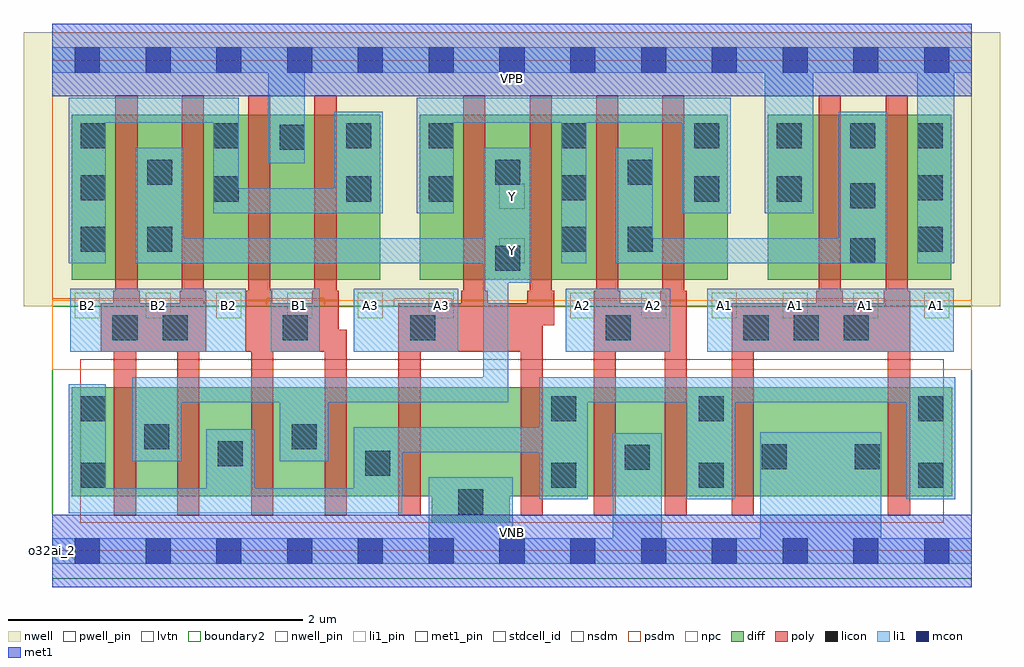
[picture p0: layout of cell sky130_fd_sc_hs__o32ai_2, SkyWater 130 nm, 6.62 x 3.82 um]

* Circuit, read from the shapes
.subckt sky130_fd_sc_hs__o32ai_2 A1 A2 A3 B1 B2 VGND VNB VPB VPWR Y
XM1 Y B2 n1 VNB sky130_fd_pr__nfet_01v8_lvt w=0.74 l=0.15 m=2
XM2 Y B1 n1 VNB sky130_fd_pr__nfet_01v8_lvt w=0.74 l=0.15 m=2
XM3 VGND A3 n1 VNB sky130_fd_pr__nfet_01v8_lvt w=0.74 l=0.15 m=2
XM4 VGND A2 n1 VNB sky130_fd_pr__nfet_01v8_lvt w=0.74 l=0.15 m=2
XM5 VGND A1 n1 VNB sky130_fd_pr__nfet_01v8_lvt w=0.74 l=0.15 m=2
XM6 Y B2 n2 VPB sky130_fd_pr__pfet_01v8 w=1.12 l=0.15 m=2
XM7 VPWR B1 n2 VPB sky130_fd_pr__pfet_01v8 w=1.12 l=0.15 m=2
XM8 Y A3 n3 VPB sky130_fd_pr__pfet_01v8 w=1.12 l=0.15 m=2
XM9 n4 A2 n3 VPB sky130_fd_pr__pfet_01v8 w=1.12 l=0.15 m=2
XM10 n4 A1 VPWR VPB sky130_fd_pr__pfet_01v8 w=1.12 l=0.15 m=2
.ends

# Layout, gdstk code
import gdstk
lib = gdstk.Library(unit=1e-6, precision=1e-09)
def R(c, l, rs):  # rectangles x0, y0, x1, y1
    for r in rs: c.add(gdstk.rectangle(r[:2], r[2:], *l))
def A(c, l, x, y, w, h, nx, ny, dx, dy):  # array of equal rectangles
    R(c, l, [(x+i*dx, y+j*dy, x+i*dx+w, y+j*dy+h) for i in range(nx) for j in range(ny)])
def P(c, l, *ps):  # polygons
    for p in ps: c.add(gdstk.Polygon(p, *l))
nwell_pin = (64, 16)
nwell = (64, 20)
diff = (65, 20)
poly = (66, 20)
licon = (66, 44)
li1_pin = (67, 16)
li1 = (67, 20)
mcon = (67, 44)
met1_pin = (68, 16)
met1 = (68, 20)
stdcell_id = (81, 4)
nsdm = (93, 44)
psdm = (94, 20)
npc = (95, 20)
pwell_pin = (122, 16)
lvtn = (125, 44)
boundary2 = (236, 0)

sky130_fd_sc_hs__o32ai_2 = lib.new_cell('sky130_fd_sc_hs__o32ai_2')
R(sky130_fd_sc_hs__o32ai_2, nwell_pin, [(0,3.085,6.24,3.33)])
R(sky130_fd_sc_hs__o32ai_2, nwell, [(-0.19,1.66,6.43,3.52)])
R(sky130_fd_sc_hs__o32ai_2, diff, [(0.135,1.84,2.225,2.96), (2.495,1.84,4.585,2.96), (4.855,1.84,6.1,2.96)])
P(sky130_fd_sc_hs__o32ai_2, diff, [(6.105,1.11),(0.135,1.11),(0.135,0.37),(2.575,0.37),(2.575,0.19),(3.105,0.19),(3.105,0.37),(6.105,0.37)])
P(sky130_fd_sc_hs__o32ai_2, poly, [(5.82,1.765),(5.805,1.765),(5.805,3.09),(5.655,3.09),(5.655,1.765),(5.64,1.765),(5.64,1.68),(5.365,1.68),(5.365,1.765),(5.35,1.765),(5.35,3.09),(5.2,3.09),(5.2,1.765),(5.185,1.765),(5.185,1.68),(4.61,1.68),(4.61,0.24),(4.76,0.24),(4.76,1.35),(5.67,1.35),(5.67,0.24),(5.82,0.24)],
  [(4.305,1.765),(4.29,1.765),(4.29,3.09),(4.14,3.09),(4.14,1.765),(4.125,1.765),(4.125,1.68),(3.855,1.68),(3.855,1.765),(3.84,1.765),(3.84,3.09),(3.69,3.09),(3.69,1.765),(3.675,1.765),(3.675,0.24),(3.825,0.24),(3.825,1.35),(4.155,1.35),(4.155,0.24),(4.305,0.24)],
  [(3.405,1.765),(3.39,1.765),(3.39,3.09),(3.24,3.09),(3.24,1.765),(3.225,1.765),(3.225,1.68),(2.955,1.68),(2.955,1.765),(2.94,1.765),(2.94,3.09),(2.79,3.09),(2.79,1.765),(2.775,1.765),(2.775,1.68),(2.35,1.68),(2.35,0.24),(2.5,0.24),(2.5,1.35),(3.18,1.35),(3.18,0.24),(3.33,0.24),(3.33,1.53),(3.405,1.53)],
  [(2,1.5),(1.945,1.5),(1.945,1.765),(1.93,1.765),(1.93,3.09),(1.78,3.09),(1.78,1.765),(1.765,1.765),(1.765,1.68),(1.495,1.68),(1.495,1.765),(1.48,1.765),(1.48,3.09),(1.33,3.09),(1.33,1.765),(1.315,1.765),(1.315,1.35),(1.35,1.35),(1.35,0.24),(1.5,0.24),(1.5,1.35),(1.85,1.35),(1.85,0.24),(2,0.24)],
  [(1.045,1.765),(1.03,1.765),(1.03,3.09),(0.88,3.09),(0.88,1.765),(0.865,1.765),(0.865,1.68),(0.595,1.68),(0.595,1.765),(0.58,1.765),(0.58,3.09),(0.43,3.09),(0.43,1.765),(0.415,1.765),(0.415,1.68),(0.33,1.68),(0.33,1.35),(0.42,1.35),(0.42,0.24),(0.57,0.24),(0.57,1.35),(0.85,1.35),(0.85,0.24),(1,0.24),(1,1.35),(1.045,1.35)])
A(sky130_fd_sc_hs__o32ai_2, licon, 4.69, 1.43, 0.17, 0.17, 3, 1, 0.34, 0)
A(sky130_fd_sc_hs__o32ai_2, licon, 5.87, 2.03, 0.17, 0.17, 1, 3, 0, 0.35)
A(sky130_fd_sc_hs__o32ai_2, licon, 0.195, 2.73, 0.17, 0.17, 3, 1, 0.9, 0)
A(sky130_fd_sc_hs__o32ai_2, licon, 2.555, 2.73, 0.17, 0.17, 3, 1, 0.9, 0)
R(sky130_fd_sc_hs__o32ai_2, licon, [(2.755,0.25,2.925,0.42), (0.195,0.43,0.365,0.6), (3.385,0.43,3.555,0.6), (4.385,0.43,4.555,0.6), (5.875,0.43,6.045,0.6), (2.125,0.51,2.295,0.68), (3.885,0.55,4.055,0.72), (4.815,0.555,4.985,0.725), (5.445,0.555,5.615,0.725), (1.125,0.575,1.295,0.745), (0.625,0.69,0.795,0.86), (1.625,0.69,1.795,0.86), (0.195,0.88,0.365,1.05), (3.385,0.88,3.555,1.05), (4.385,0.88,4.555,1.05), (5.875,0.88,6.045,1.05), (0.41,1.43,0.58,1.6), (0.75,1.43,0.92,1.6), (1.565,1.43,1.735,1.6), (2.43,1.43,2.6,1.6), (3.755,1.43,3.925,1.6), (3.005,1.9,3.175,2.07), (5.415,1.95,5.585,2.12), (0.195,2.03,0.365,2.2), (0.645,2.03,0.815,2.2), (3.455,2.03,3.625,2.2), (3.905,2.03,4.075,2.2), (5.415,2.325,5.585,2.495), (1.095,2.37,1.265,2.54), (1.995,2.37,2.165,2.54), (2.555,2.37,2.725,2.54), (4.355,2.37,4.525,2.54), (4.915,2.37,5.085,2.54), (0.195,2.38,0.365,2.55), (3.455,2.38,3.625,2.55), (0.645,2.485,0.815,2.655), (3.005,2.485,3.175,2.655), (3.905,2.485,4.075,2.655), (1.545,2.72,1.715,2.89), (4.915,2.73,5.085,2.9), (5.415,2.73,5.585,2.9)])
A(sky130_fd_sc_hs__o32ai_2, li1_pin, 0.155, 1.58, 0.17, 0.17, 6, 1, 0.48, 0)
A(sky130_fd_sc_hs__o32ai_2, li1_pin, 3.515, 1.58, 0.17, 0.17, 6, 1, 0.48, 0)
R(sky130_fd_sc_hs__o32ai_2, li1_pin, [(3.035,1.95,3.205,2.12), (3.035,2.32,3.205,2.49)])
R(sky130_fd_sc_hs__o32ai_2, li1, [(0.125,1.35,1.315,1.78), (1.485,1.35,1.815,1.78), (2.045,1.35,2.755,1.78), (3.485,1.35,4.195,1.78), (4.445,1.35,6.115,1.78)])
P(sky130_fd_sc_hs__o32ai_2, li1, [(0,-0.085),(0,0.085),(2.555,0.085),(2.555,0.5),(3.125,0.5),(3.125,0.085),(3.805,0.085),(3.805,0.8),(4.135,0.8),(4.135,0.085),(4.805,0.085),(4.805,0.805),(5.625,0.805),(5.625,0.085),(6.24,0.085),(6.24,-0.085)],
  [(0,3.245),(0,3.415),(6.24,3.415),(6.24,3.245),(6.12,3.245),(6.12,1.95),(5.87,1.95),(5.87,3.245),(5.165,3.245),(5.165,2.29),(4.835,2.29),(4.835,3.245),(1.715,3.245),(1.715,2.63),(1.465,2.63),(1.465,3.245)],
  [(2.925,2.735),(3.255,2.735),(3.255,1.82),(3.095,1.82),(3.095,1.01),(1.875,1.01),(1.875,0.61),(1.545,0.61),(1.545,1.01),(0.875,1.01),(0.875,0.61),(0.545,0.61),(0.545,1.18),(2.925,1.18),(2.925,1.95),(0.565,1.95),(0.565,2.735),(0.895,2.735),(0.895,2.12),(2.925,2.12)],
  [(5.795,0.35),(5.795,1.01),(4.635,1.01),(4.635,0.35),(4.305,0.35),(4.305,1.01),(3.635,1.01),(3.635,0.35),(3.305,0.35),(3.305,0.67),(2.375,0.67),(2.375,0.255),(0.115,0.255),(0.115,1.13),(0.365,1.13),(0.365,0.425),(1.045,0.425),(1.045,0.825),(1.375,0.825),(1.375,0.425),(2.045,0.425),(2.045,0.84),(3.305,0.84),(3.305,1.18),(6.125,1.18),(6.125,0.35)],
  [(3.455,1.95),(3.455,2.905),(2.725,2.905),(2.725,2.29),(2.475,2.29),(2.475,3.075),(4.605,3.075),(4.605,2.29),(4.275,2.29),(4.275,2.905),(3.625,2.905),(3.625,1.95)],
  [(5.335,2.12),(5.335,2.98),(5.67,2.98),(5.67,1.95),(3.825,1.95),(3.825,2.735),(4.075,2.735),(4.075,2.12)],
  [(0.115,1.95),(0.115,3.075),(1.265,3.075),(1.265,2.46),(1.915,2.46),(1.915,2.98),(2.245,2.98),(2.245,2.29),(1.095,2.29),(1.095,2.905),(0.365,2.905),(0.365,1.95)])
A(sky130_fd_sc_hs__o32ai_2, mcon, 0.155, -0.085, 0.17, 0.17, 13, 2, 0.48, 3.33)
R(sky130_fd_sc_hs__o32ai_2, met1_pin, [(0,0,6.24,0.245), (0,3.085,6.24,3.33)])
R(sky130_fd_sc_hs__o32ai_2, met1, [(0,-0.245,6.24,0.245), (0,3.085,6.24,3.575)])
R(sky130_fd_sc_hs__o32ai_2, stdcell_id, [(0,0,6.24,3.33)])
R(sky130_fd_sc_hs__o32ai_2, nsdm, [(0,-0.19,6.24,1.66)])
P(sky130_fd_sc_hs__o32ai_2, psdm, [(6.24,3.52),(0,3.52),(0,1.71),(1.03,1.71),(1.03,1.66),(1.455,1.66),(1.455,1.71),(1.845,1.71),(1.845,1.66),(2.32,1.66),(2.32,1.71),(2.71,1.71),(2.71,1.66),(3.645,1.66),(3.645,1.71),(4.035,1.71),(4.035,1.66),(4.58,1.66),(4.58,1.71),(5.65,1.71),(5.65,1.66),(6.24,1.66)])
R(sky130_fd_sc_hs__o32ai_2, npc, [(0,1.23,6.24,1.7)])
R(sky130_fd_sc_hs__o32ai_2, pwell_pin, [(0,0,6.24,0.245)])
R(sky130_fd_sc_hs__o32ai_2, lvtn, [(0.19,0.19,6.05,1.3)])
R(sky130_fd_sc_hs__o32ai_2, boundary2, [(0,0,6.24,3.33)])
sky130_fd_sc_hs__o32ai_2.add(gdstk.Label('o32ai_2', (0,0), layer=83, texttype=44))
sky130_fd_sc_hs__o32ai_2.add(gdstk.Label('VNB', (3.12,0.123), layer=64, texttype=59))
sky130_fd_sc_hs__o32ai_2.add(gdstk.Label('VPB', (3.12,3.208), layer=64, texttype=5))
sky130_fd_sc_hs__o32ai_2.add(gdstk.Label('VPWR', (3.12,3.208), layer=68, texttype=5))
sky130_fd_sc_hs__o32ai_2.add(gdstk.Label('VGND', (3.12,0.123), layer=68, texttype=5))
sky130_fd_sc_hs__o32ai_2.add(gdstk.Label('B2', (0.24,1.665), layer=67, texttype=5))
sky130_fd_sc_hs__o32ai_2.add(gdstk.Label('B2', (0.72,1.665), layer=67, texttype=5))
sky130_fd_sc_hs__o32ai_2.add(gdstk.Label('B2', (1.2,1.665), layer=67, texttype=5))
sky130_fd_sc_hs__o32ai_2.add(gdstk.Label('B1', (1.68,1.665), layer=67, texttype=5))
sky130_fd_sc_hs__o32ai_2.add(gdstk.Label('A3', (2.16,1.665), layer=67, texttype=5))
sky130_fd_sc_hs__o32ai_2.add(gdstk.Label('A3', (2.64,1.665), layer=67, texttype=5))
sky130_fd_sc_hs__o32ai_2.add(gdstk.Label('A2', (3.6,1.665), layer=67, texttype=5))
sky130_fd_sc_hs__o32ai_2.add(gdstk.Label('A2', (4.08,1.665), layer=67, texttype=5))
sky130_fd_sc_hs__o32ai_2.add(gdstk.Label('A1', (4.56,1.665), layer=67, texttype=5))
sky130_fd_sc_hs__o32ai_2.add(gdstk.Label('A1', (5.04,1.665), layer=67, texttype=5))
sky130_fd_sc_hs__o32ai_2.add(gdstk.Label('A1', (5.52,1.665), layer=67, texttype=5))
sky130_fd_sc_hs__o32ai_2.add(gdstk.Label('A1', (6,1.665), layer=67, texttype=5))
sky130_fd_sc_hs__o32ai_2.add(gdstk.Label('Y', (3.12,2.035), layer=67, texttype=5))
sky130_fd_sc_hs__o32ai_2.add(gdstk.Label('Y', (3.12,2.405), layer=67, texttype=5))

lib.write_gds('sky130_fd_sc_hs__o32ai_2.gds')
